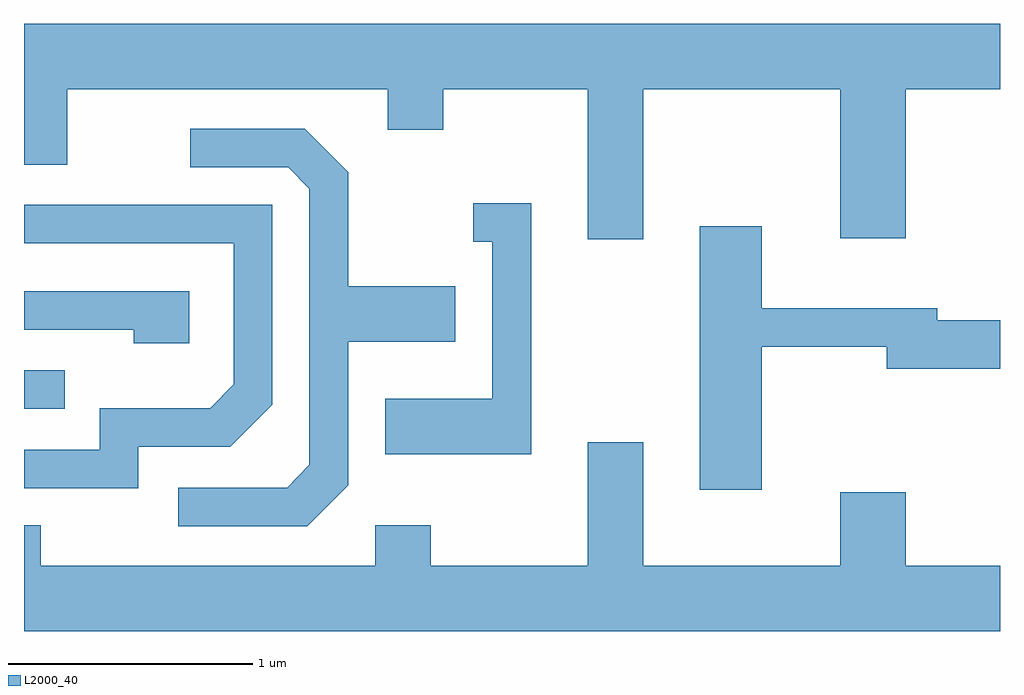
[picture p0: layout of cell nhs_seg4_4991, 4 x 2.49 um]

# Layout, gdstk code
import gdstk
lib = gdstk.Library(unit=1e-6, precision=1e-09)
def R(c, l, rs):  # rectangles x0, y0, x1, y1
    for r in rs: c.add(gdstk.rectangle(r[:2], r[2:], *l))
def P(c, l, *ps):  # polygons
    for p in ps: c.add(gdstk.Polygon(p, *l))
L2000_40 = (2000, 40)

nhs_seg4_4991 = lib.new_cell('nhs_seg4_4991')
R(nhs_seg4_4991, L2000_40, [(331.611,1308.966,331.778,1309.124)])
P(nhs_seg4_4991, L2000_40, [(334.149,1310.276),(334.956,1310.276),(334.956,1309.666),(335.224,1309.666),(335.224,1310.276),(335.611,1310.276),(335.611,1310.544),(331.611,1310.544),(331.611,1309.966),(331.789,1309.966),(331.789,1310.276),(333.101,1310.276),(333.101,1310.111),(333.329,1310.111),(333.329,1310.276),(333.921,1310.276),(333.921,1309.661),(334.149,1309.661)],
  [(332.939,1308.654),(332.939,1309.241),(333.379,1309.241),(333.379,1309.469),(332.939,1309.469),(332.939,1309.937),(332.762,1310.114),(332.293,1310.114),(332.293,1309.956),(332.694,1309.956),(332.781,1309.869),(332.781,1308.737),(332.689,1308.644),(332.243,1308.644),(332.243,1308.486),(332.772,1308.486)],
  [(333.689,1309.809),(333.453,1309.809),(333.453,1309.651),(333.531,1309.651),(333.531,1309.009),(333.091,1309.009),(333.091,1308.781),(333.689,1308.781)],
  [(332.079,1308.811),(332.457,1308.811),(332.629,1308.984),(332.629,1309.804),(331.611,1309.804),(331.611,1309.646),(332.471,1309.646),(332.471,1309.067),(332.374,1308.969),(331.921,1308.969),(331.921,1308.799),(331.611,1308.799),(331.611,1308.641),(332.079,1308.641)],
  [(334.634,1309.221),(335.146,1309.221),(335.146,1309.131),(335.611,1309.131),(335.611,1309.329),(335.354,1309.329),(335.354,1309.379),(334.634,1309.379),(334.634,1309.714),(334.381,1309.714),(334.381,1308.636),(334.634,1308.636)],
  [(332.289,1309.449),(331.611,1309.449),(331.611,1309.291),(332.061,1309.291),(332.061,1309.236),(332.289,1309.236)],
  [(335.611,1308.324),(335.224,1308.324),(335.224,1308.624),(334.956,1308.624),(334.956,1308.324),(334.149,1308.324),(334.149,1308.829),(333.921,1308.829),(333.921,1308.324),(333.279,1308.324),(333.279,1308.489),(333.051,1308.489),(333.051,1308.324),(331.679,1308.324),(331.679,1308.489),(331.611,1308.489),(331.611,1308.056),(335.611,1308.056)])

lib.write_gds('nhs_seg4_4991.gds')
